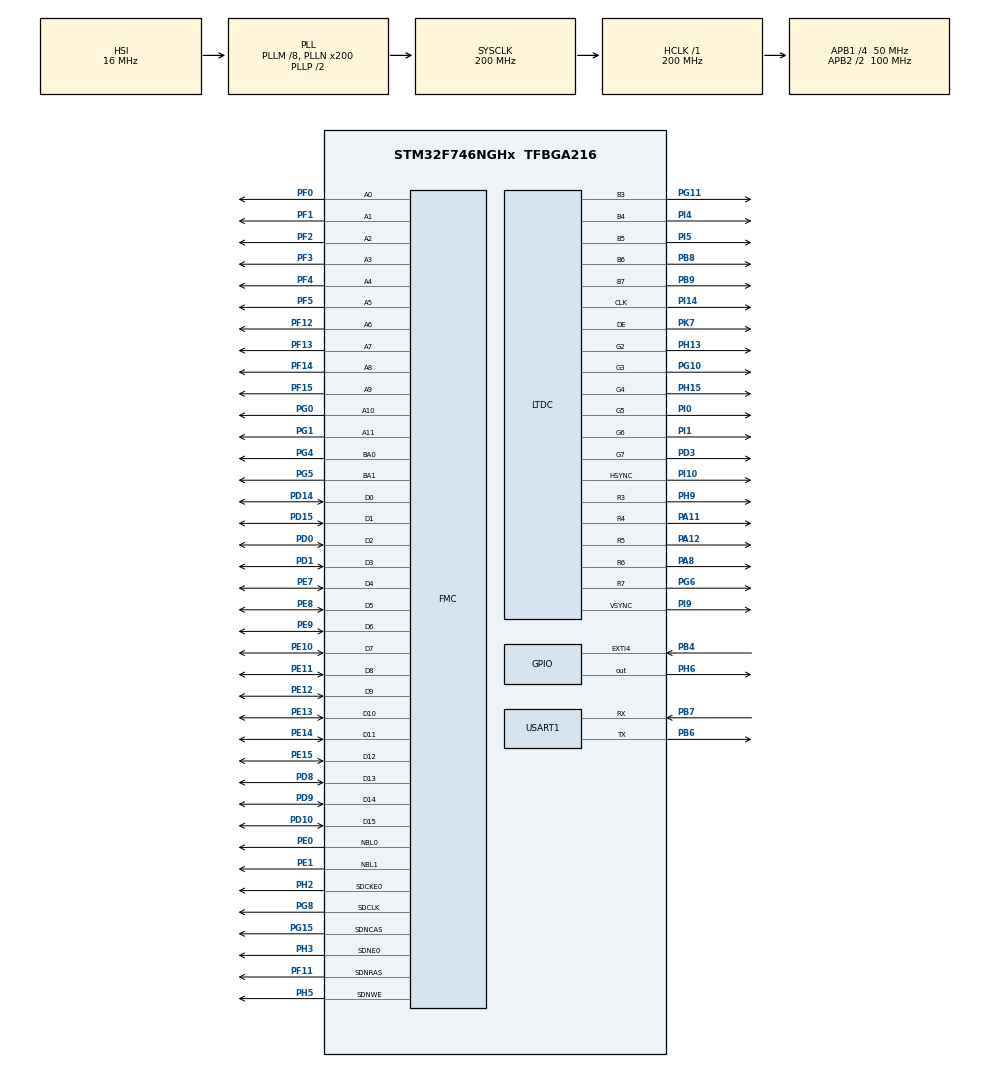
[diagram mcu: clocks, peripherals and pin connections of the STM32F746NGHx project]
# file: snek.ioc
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CORTEX_M7.CPU_DCache=Enabled
CORTEX_M7.CPU_ICache=Enabled
FMC.CASLatency1=FMC_SDRAM_CAS_LATENCY_2
FMC.ExitSelfRefreshDelay1=6
FMC.LoadToActiveDelay1=2
FMC.RCDDelay1=2
FMC.RPDelay1=2
FMC.ReadBurst1=FMC_SDRAM_RBURST_ENABLE
FMC.ReadBurst2=FMC_SDRAM_RBURST_ENABLE
FMC.ReadPipeDelay1=FMC_SDRAM_RPIPE_DELAY_1
FMC.ReadPipeDelay2=FMC_SDRAM_RPIPE_DELAY_1
FMC.RowCycleDelay1=6
FMC.SDClockPeriod1=FMC_SDRAM_CLOCK_PERIOD_3
FMC.SDClockPeriod2=FMC_SDRAM_CLOCK_PERIOD_3
FMC.SelfRefreshTime1=4
FMC.WriteRecoveryTime1=2
LTDC.ActiveH=272
LTDC.ActiveW=480
LTDC.Alpha_L0=255
LTDC.HBP=13
LTDC.HFP=32
LTDC.HSync=41
LTDC.Layers=0
LTDC.PixelFormat_L0=LTDC_PIXEL_FORMAT_RGB565
LTDC.VSync=10
LTDC.WindowX1_L0=480
LTDC.WindowY1_L0=272
Mcu.Family=STM32F7
Mcu.Name=STM32F746NGHx
Mcu.Package=TFBGA216
NVIC.EXTI4_IRQn=true\:0\:0\:false\:false\:true\:true\:true\:true
NVIC.PriorityGroup=NVIC_PRIORITYGROUP_4
NVIC.TIM1_UP_TIM10_IRQn=true\:15\:0\:false\:false\:true\:false\:true\:true
NVIC.TIM3_IRQn=true\:0\:0\:false\:false\:true\:true\:true\:true
NVIC.TimeBase=TIM1_UP_TIM10_IRQn
NVIC.TimeBaseIP=TIM1
PA11.Mode=RGB565
PA11.Signal=LTDC_R4
PA12.Mode=RGB565
PA12.Signal=LTDC_R5
PA13.Mode=Serial_Wire
PA13.Signal=SYS_JTMS-SWDIO
PA14.Mode=Serial_Wire
PA14.Signal=SYS_JTCK-SWCLK
PA15.Signal=S_TIM2_CH1_ETR
PA8.Mode=RGB565
PA8.Signal=LTDC_R6
PB4.GPIO_ModeDefaultEXTI=GPIO_MODE_IT_RISING_FALLING
PB4.GPIO_PuPd=GPIO_PULLUP
PB4.Signal=GPXTI4
PB6.Mode=Asynchronous
PB6.Signal=USART1_TX
PB7.Mode=Asynchronous
PB7.Signal=USART1_RX
PB8.Mode=RGB565
PB8.Signal=LTDC_B6
PB9.Mode=RGB565
PB9.Signal=LTDC_B7
PD0.Signal=FMC_D2_DA2
PD1.Signal=FMC_D3_DA3
PD10.Signal=FMC_D15_DA15
PD14.Signal=FMC_D0_DA0
PD15.Signal=FMC_D1_DA1
PD3.Mode=RGB565
PD3.Signal=LTDC_G7
PD8.Signal=FMC_D13_DA13
PD9.Signal=FMC_D14_DA14
PE0.Signal=FMC_NBL0
PE1.Signal=FMC_NBL1
PE10.Signal=FMC_D7_DA7
PE11.Signal=FMC_D8_DA8
PE12.Signal=FMC_D9_DA9
PE13.Signal=FMC_D10_DA10
PE14.Signal=FMC_D11_DA11
PE15.Signal=FMC_D12_DA12
PE7.Signal=FMC_D4_DA4
PE8.Signal=FMC_D5_DA5
PE9.Signal=FMC_D6_DA6
PF0.Signal=FMC_A0
PF1.Signal=FMC_A1
PF11.Signal=FMC_SDNRAS
PF12.Signal=FMC_A6
PF13.Signal=FMC_A7
PF14.Signal=FMC_A8
PF15.Signal=FMC_A9
PF2.Signal=FMC_A2
PF3.Signal=FMC_A3
PF4.Signal=FMC_A4
PF5.Signal=FMC_A5
PG0.Signal=FMC_A10
PG1.Signal=FMC_A11
PG10.Mode=RGB565
PG10.Signal=LTDC_G3
PG11.Mode=RGB565
PG11.Signal=LTDC_B3
PG15.Signal=FMC_SDNCAS
PG4.Signal=FMC_A14_BA0
PG5.Signal=FMC_A15_BA1
PG6.Mode=RGB565
PG6.Signal=LTDC_R7
PG8.Signal=FMC_SDCLK
PH0/OSC_IN.Mode=HSE-External-Oscillator
PH0/OSC_IN.Signal=RCC_OSC_IN
PH1/OSC_OUT.Mode=HSE-External-Oscillator
PH1/OSC_OUT.Signal=RCC_OSC_OUT
PH13.Mode=RGB565
PH13.Signal=LTDC_G2
PH15.Mode=RGB565
PH15.Signal=LTDC_G4
PH2.Mode=SdramChipSelect1_1
PH2.Signal=FMC_SDCKE0
PH3.Mode=SdramChipSelect1_1
PH3.Signal=FMC_SDNE0
PH5.Signal=FMC_SDNWE
PH6.Signal=GPIO_Output
PH9.Mode=RGB565
PH9.Signal=LTDC_R3
PI0.Mode=RGB565
PI0.Signal=LTDC_G5
PI1.Mode=RGB565
PI1.Signal=LTDC_G6
PI10.Mode=RGB565
PI10.Signal=LTDC_HSYNC
PI14.Mode=RGB565
PI14.Signal=LTDC_CLK
PI4.Mode=RGB565
PI4.Signal=LTDC_B4
PI5.Mode=RGB565
PI5.Signal=LTDC_B5
PI9.Mode=RGB565
PI9.Signal=LTDC_VSYNC
PK7.Mode=RGB565
PK7.Signal=LTDC_DE
ProjectManager.HeapSize=0x2000
ProjectManager.StackSize=0x4000
ProjectManager.TargetToolchain=STM32CubeIDE
RCC.AHBFreq_Value=200000000
RCC.APB1CLKDivider=RCC_HCLK_DIV4
RCC.APB1Freq_Value=50000000
RCC.APB1TimFreq_Value=100000000
RCC.APB2CLKDivider=RCC_HCLK_DIV2
RCC.APB2Freq_Value=100000000
RCC.APB2TimFreq_Value=200000000
RCC.CortexFreq_Value=200000000
RCC.HCLKFreq_Value=200000000
RCC.HSE_VALUE=25000000
RCC.HSI_VALUE=16000000
RCC.LSE_VALUE=32768
RCC.PLLM=8
RCC.PLLN=200
RCC.PLLSAIN=50
RCC.SYSCLKFreq_VALUE=200000000
RCC.SYSCLKSource=RCC_SYSCLKSOURCE_PLLCLK
RCC.USBFreq_Value=200000000
RCC.VCOOutputFreq_Value=400000000
SH.FMC_A0.0=FMC_A0,12b-sda1
SH.FMC_A1.0=FMC_A1,12b-sda1
SH.FMC_A10.0=FMC_A10,12b-sda1
SH.FMC_A11.0=FMC_A11,12b-sda1
SH.FMC_A14_BA0.0=FMC_BA0,FourSdramBanks1
SH.FMC_A15_BA1.0=FMC_BA1,FourSdramBanks1
SH.FMC_A2.0=FMC_A2,12b-sda1
SH.FMC_A3.0=FMC_A3,12b-sda1
SH.FMC_A4.0=FMC_A4,12b-sda1
SH.FMC_A5.0=FMC_A5,12b-sda1
SH.FMC_A6.0=FMC_A6,12b-sda1
SH.FMC_A7.0=FMC_A7,12b-sda1
SH.FMC_A8.0=FMC_A8,12b-sda1
SH.FMC_A9.0=FMC_A9,12b-sda1
SH.FMC_D0_DA0.0=FMC_D0,sd-16b-d1
SH.FMC_D10_DA10.0=FMC_D10,sd-16b-d1
SH.FMC_D11_DA11.0=FMC_D11,sd-16b-d1
SH.FMC_D12_DA12.0=FMC_D12,sd-16b-d1
SH.FMC_D13_DA13.0=FMC_D13,sd-16b-d1
SH.FMC_D14_DA14.0=FMC_D14,sd-16b-d1
SH.FMC_D15_DA15.0=FMC_D15,sd-16b-d1
SH.FMC_D1_DA1.0=FMC_D1,sd-16b-d1
SH.FMC_D2_DA2.0=FMC_D2,sd-16b-d1
SH.FMC_D3_DA3.0=FMC_D3,sd-16b-d1
SH.FMC_D4_DA4.0=FMC_D4,sd-16b-d1
SH.FMC_D5_DA5.0=FMC_D5,sd-16b-d1
SH.FMC_D6_DA6.0=FMC_D6,sd-16b-d1
SH.FMC_D7_DA7.0=FMC_D7,sd-16b-d1
SH.FMC_D8_DA8.0=FMC_D8,sd-16b-d1
SH.FMC_D9_DA9.0=FMC_D9,sd-16b-d1
SH.FMC_NBL0.0=FMC_NBL0,Sd2ByteEnable1
SH.FMC_NBL1.0=FMC_NBL1,Sd2ByteEnable1
SH.FMC_SDCLK.0=FMC_SDCLK,12b-sda1
SH.FMC_SDNCAS.0=FMC_SDNCAS,12b-sda1
SH.FMC_SDNRAS.0=FMC_SDNRAS,12b-sda1
SH.FMC_SDNWE.0=FMC_SDNWE,12b-sda1
SH.S_TIM2_CH1_ETR.0=TIM2_CH1
TIM2.Period=2249
TIM2.Prescaler=864
TIM3.AutoReloadPreload=TIM_AUTORELOAD_PRELOAD_ENABLE
TIM3.Period=1999
TIM3.Prescaler=9999
USART1.VirtualMode-Asynchronous=VM_ASYNC
VP_DMA2D_VS_DMA2D.Mode=DMA2D_Activate
VP_SYS_VS_tim1.Mode=TIM1
VP_TIM2_VS_ClockSourceINT.Mode=Internal
VP_TIM3_VS_ClockSourceINT.Mode=Internal
board=custom

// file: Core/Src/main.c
/* USER CODE BEGIN Header */
/**
  ******************************************************************************
  * @file           : main.c
  * @brief          : Main program body
  ******************************************************************************
  * @attention
  *
  * Copyright (c) 2023 STMicroelectronics.
  * All rights reserved.
  *
  * This software is licensed under terms that can be found in the LICENSE file
  * in the root directory of this software component.
  * If no LICENSE file comes with this software, it is provided AS-IS.
  *
  ******************************************************************************
  */
/* USER CODE END Header */
#include "main.h"
#include "dma2d.h"
#include "ltdc.h"
#include "tim.h"
#include "usart.h"
#include "gpio.h"
#include "fmc.h"

/* USER CODE BEGIN Includes */
#include "stm32746g_discovery.h"
#include "stm32746g_discovery_lcd.h"
#include "stm32746g_discovery_ts.h"
#include <stdlib.h>
#include <stdio.h>
#include <math.h>
#include "time.h"
#include "fonts.h"
/* USER CODE END Includes */

/* USER CODE BEGIN PTD */
enum Direction {
	LEFT = 0,
	RIGHT = 1,
	UP = 2,
	DOWN = 3
};

enum Colors {
	EMPTY = 0,
	SNAKE = 1,
	FRUIT = 2
};
/* USER CODE END PTD */

/* USER CODE BEGIN PV */
#define LCD_FRAME_BUFFER          SDRAM_DEVICE_ADDR

uint16_t gameSpeed = 500; // delay between ticks in ms
uint16_t width = 20; // game width
uint16_t height = 20; // game height
uint16_t x; // head x
uint16_t y; // head y
uint16_t lstX; // tail x
uint16_t lstY; // tail y
uint16_t frtX; // fruit x
uint16_t frtY; // fruit y
uint16_t deathX; // used in death calculations
uint16_t deathY; // used in death calculations
uint16_t len = 2; // snake lenght
uint16_t dir[256] = {}; // direction of body parts, [0] -> head, [len-1] -> tail
uint16_t scr = 0; // score
char score[10] = {};
uint8_t fruitEaten = 0; // fruit flag
uint8_t run = 1;

static TS_StateTypeDef  TS_State;
/* USER CODE END PV */

void SystemClock_Config(void);
/* USER CODE BEGIN PFP */
void drawSquare(uint16_t x, uint16_t y, uint8_t color) {
	if ( color == EMPTY ) {
		BSP_LCD_SetTextColor(LCD_COLOR_BLACK);
	} else if ( color == SNAKE ) {
		BSP_LCD_SetTextColor(LCD_COLOR_GREEN);
	} else if ( color == FRUIT ) {
		BSP_LCD_SetTextColor(LCD_COLOR_RED);
	}
	BSP_LCD_FillRect((x*9)+150, (y*9)+46, 9, 9);
}

void updateHead() {
	if ( dir[0] == LEFT ) {	// HEAD MOVEMENT
		x--;
	} else if ( dir[0] == RIGHT ) {
		x++;
	} else if ( dir[0] == DOWN ) {
		y++;
	} else if ( dir[0] == UP ) {
		y--;
	}
	if (BSP_LCD_ReadPixel((x*9)+150, (y*9)+46) == LCD_COLOR_GREEN) {
		run = 0;
	}
	drawSquare(x, y, SNAKE);
}

void updateTail() {	// kill tail block, call before updateMovement
	if (fruitEaten == 0) {
		drawSquare(lstX, lstY, EMPTY);
		if ( dir[len-1] == LEFT ) {	// TAIL MOVEMENT
			lstX--;
		} else if ( dir[len-1] == RIGHT ) {
			lstX++;
		} else if ( dir[len-1] == DOWN ) {
			lstY++;
		} else if ( dir[len-1] == UP ) {
			lstY--;
		}
		for (int i = len-1; i>0; i--) {
			dir[i] = dir[i-1];
		}
	} else {
		fruitEaten = 0;
		for (int i = len; i>0; i--) {
			dir[i] = dir[i-1];
		}
	}
}

void newFruit() {	// randomize position of new fruit
	do {
		frtX = (rand() % (width-1)) + 1;
		frtY = (rand() % (height-1)) + 1;
	} while(( frtX == x && frtY == y ) || ( BSP_LCD_ReadPixel((frtX*9)+150, (frtY*9)+46) == LCD_COLOR_GREEN ));
	drawSquare(frtX, frtY, FRUIT);
}

void endGame() {
	run = 0;
	BSP_LCD_Clear(LCD_COLOR_RED);
	BSP_LCD_SetTextColor(LCD_COLOR_WHITE);
	//BSP_LCD_DisplayStringAt(240, 136, "you lost", CENTER_MODE);
}

void checkDeath() {
	if ((x>width-1) || (x<0) || (y>height-1) || (y<0)) {
		run = 0;
	}
}

/* USER CODE END PFP */

int main(void)
{

  /* Enable I-Cache---------------------------------------------------------*/
  SCB_EnableICache();

  /* Enable D-Cache---------------------------------------------------------*/
  SCB_EnableDCache();

  /* MCU Configuration--------------------------------------------------------*/

  /* Reset of all peripherals, Initializes the Flash interface and the Systick. */
  HAL_Init();

  /* Configure the system clock */
  SystemClock_Config();

  /* Initialize all configured peripherals */
  MX_GPIO_Init();
  MX_DMA2D_Init();
  MX_FMC_Init();
  MX_LTDC_Init();
  MX_USART1_UART_Init();
  MX_TIM2_Init();
  MX_TIM3_Init();
  /* USER CODE BEGIN 2 */
  BSP_TS_Init(480,272);
  BSP_LCD_Init();
  BSP_LCD_LayerDefaultInit(LTDC_ACTIVE_LAYER,LCD_FRAME_BUFFER);
  BSP_LCD_SelectLayer(LTDC_ACTIVE_LAYER);
  BSP_LCD_DisplayOn();
  BSP_LCD_Clear(LCD_COLOR_BLACK);
  BSP_LCD_SetTextColor(LCD_COLOR_WHITE);
  BSP_LCD_DrawRect(149, 45, 181, 181);
  BSP_LCD_SetFont(&Font16);
  BSP_LCD_SetBackColor(LCD_COLOR_BLACK);

  dir[0] = RIGHT;
  dir[1] = RIGHT;
  x = width/2; // head x
  y = height/2; // head y
  lstX = x-1; // tail x
  lstY = y; // tail y
  HAL_TIM_Base_Start_IT(&htim2);
  srand( TIM2->CNT );
  newFruit();

  HAL_TIM_Base_Start_IT(&htim3);
  /* USER CODE END 2 */

  /* Infinite loop */
  /* USER CODE BEGIN WHILE */
  while (1)
  {
	  BSP_TS_GetState(&TS_State);
	  if ( frtX == x && frtY == y ) {
		  fruitEaten = 1;
		  srand( TIM2->CNT );
		  newFruit();
		  scr++;
		  len++;
	  }

	  if ( TS_State.touchDetected ) {
		  float X = TS_State.touchX[0];
		  float Y = TS_State.touchY[0];

		  if (( Y > 0.567 * X ) && ( Y > -0.567 * X + 272 ) && ( dir[1] != UP )) {
			  dir[0] = DOWN;
		  } else if (( Y < 0.567 * X ) && ( Y < -0.567 * X + 272 ) && ( dir[1] != DOWN )) {
			  dir[0] = UP;
		  } else if (( Y > 0.567 * X ) && ( Y < -0.567 * X + 272 ) && ( dir[1] != RIGHT )) {
			  dir[0] = LEFT;
		  } else if (( Y < 0.567 * X ) && ( Y > -0.567 * X + 272 ) && ( dir[1] != LEFT )) {
			  dir[0] = RIGHT;
		  }
	  }
    /* USER CODE END WHILE */

  }
}

void SystemClock_Config(void)
{
  RCC_OscInitTypeDef RCC_OscInitStruct = {0};
  RCC_ClkInitTypeDef RCC_ClkInitStruct = {0};

  /** Configure the main internal regulator output voltage
  */
  __HAL_RCC_PWR_CLK_ENABLE();
  __HAL_PWR_VOLTAGESCALING_CONFIG(PWR_REGULATOR_VOLTAGE_SCALE1);

  /** Initializes the RCC Oscillators according to the specified parameters
  * in the RCC_OscInitTypeDef structure.
  */
  RCC_OscInitStruct.OscillatorType = RCC_OSCILLATORTYPE_HSI;
  RCC_OscInitStruct.HSIState = RCC_HSI_ON;
  RCC_OscInitStruct.HSICalibrationValue = RCC_HSICALIBRATION_DEFAULT;
  RCC_OscInitStruct.PLL.PLLState = RCC_PLL_ON;
  RCC_OscInitStruct.PLL.PLLSource = RCC_PLLSOURCE_HSI;
  RCC_OscInitStruct.PLL.PLLM = 8;
  RCC_OscInitStruct.PLL.PLLN = 200;
  RCC_OscInitStruct.PLL.PLLP = RCC_PLLP_DIV2;
  RCC_OscInitStruct.PLL.PLLQ = 2;
  if (HAL_RCC_OscConfig(&RCC_OscInitStruct) != HAL_OK)
  {
    Error_Handler();
  }

  /** Activate the Over-Drive mode
  */
  if (HAL_PWREx_EnableOverDrive() != HAL_OK)
  {
    Error_Handler();
  }

  /** Initializes the CPU, AHB and APB buses clocks
  */
  RCC_ClkInitStruct.ClockType = RCC_CLOCKTYPE_HCLK|RCC_CLOCKTYPE_SYSCLK
                              |RCC_CLOCKTYPE_PCLK1|RCC_CLOCKTYPE_PCLK2;
  RCC_ClkInitStruct.SYSCLKSource = RCC_SYSCLKSOURCE_PLLCLK;
  RCC_ClkInitStruct.AHBCLKDivider = RCC_SYSCLK_DIV1;
  RCC_ClkInitStruct.APB1CLKDivider = RCC_HCLK_DIV4;
  RCC_ClkInitStruct.APB2CLKDivider = RCC_HCLK_DIV2;

  if (HAL_RCC_ClockConfig(&RCC_ClkInitStruct, FLASH_LATENCY_6) != HAL_OK)
  {
    Error_Handler();
  }
}

void HAL_TIM_PeriodElapsedCallback(TIM_HandleTypeDef *htim)
{
  /* USER CODE BEGIN Callback 0 */
	if (htim->Instance == TIM3) {
		if ( run == 1 ) {
			updateTail();
			updateHead();
			checkDeath();
			itoa(scr, score, 10);
			BSP_LCD_SetTextColor(LCD_COLOR_WHITE);
			BSP_LCD_DisplayStringAt(150, 100, score, CENTER_MODE);
			if (run == 0) {
				endGame();
				BSP_LCD_SetBackColor(LCD_COLOR_RED);
				BSP_LCD_SetTextColor(LCD_COLOR_WHITE);
				BSP_LCD_DisplayStringAt(0, 136, score, CENTER_MODE);
			}
		}
	}
  /* USER CODE END Callback 0 */
  if (htim->Instance == TIM1) {
    HAL_IncTick();
  }
}

void Error_Handler(void)
{
  __disable_irq();
  while (1)
  {
  }
}
